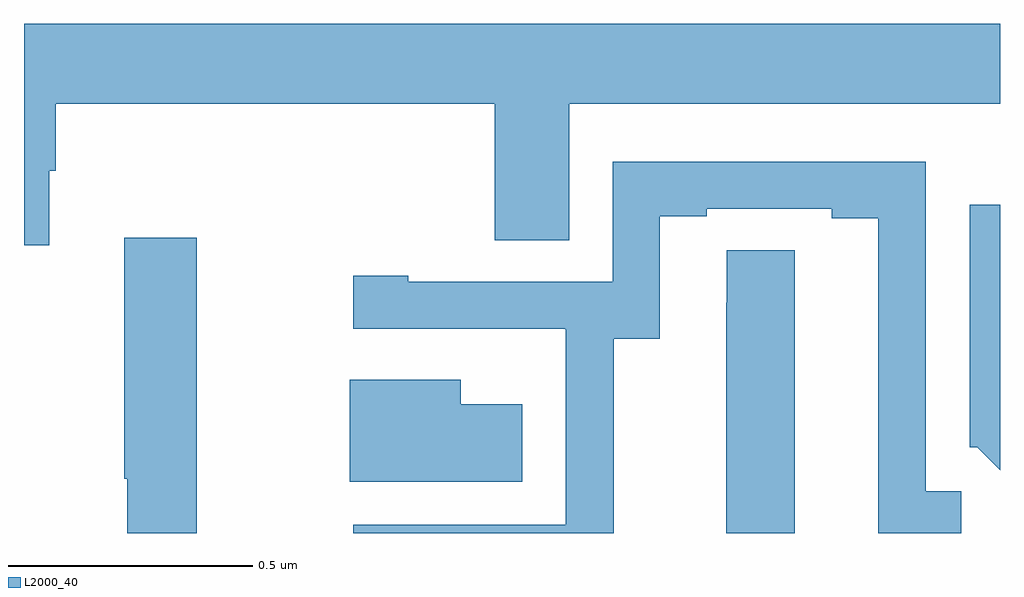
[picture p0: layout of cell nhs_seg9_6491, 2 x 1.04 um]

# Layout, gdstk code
import gdstk
lib = gdstk.Library(unit=1e-6, precision=1e-09)
def P(c, l, *ps):  # polygons
    for p in ps: c.add(gdstk.Polygon(p, *l))
L2000_40 = (2000, 40)

nhs_seg9_6491 = lib.new_cell('nhs_seg9_6491')
P(nhs_seg9_6491, L2000_40, [(192.052,1236.243),(192.065,1236.243),(192.065,1236.38),(192.965,1236.38),(192.965,1236.1),(193.117,1236.1),(193.117,1236.38),(194,1236.38),(194,1236.544),(192,1236.544),(192,1236.09),(192.052,1236.09)],
  [(193.209,1235.899),(193.303,1235.899),(193.303,1236.15),(193.399,1236.15),(193.399,1236.165),(193.655,1236.165),(193.655,1236.145),(193.751,1236.145),(193.751,1235.5),(193.921,1235.5),(193.921,1235.586),(193.848,1235.586),(193.848,1236.261),(193.206,1236.261),(193.206,1236.015),(192.787,1236.015),(192.787,1236.028),(192.675,1236.028),(192.675,1235.919),(193.109,1235.919),(193.109,1235.918),(193.11,1235.918),(193.11,1235.517),(192.675,1235.517),(192.675,1235.5),(193.209,1235.5)],
  [(194,1236.173),(193.938,1236.173),(193.938,1235.676),(193.953,1235.676),(194,1235.629)],
  [(192.354,1236.106),(192.205,1236.106),(192.205,1235.612),(192.212,1235.612),(192.212,1235.5),(192.354,1235.5)],
  [(193.579,1236.08),(193.44,1236.08),(193.44,1235.972),(193.439,1235.972),(193.439,1235.5),(193.579,1235.5)],
  [(193.021,1235.764),(192.895,1235.764),(192.895,1235.815),(192.668,1235.815),(192.668,1235.606),(193.021,1235.606)])

lib.write_gds('nhs_seg9_6491.gds')
